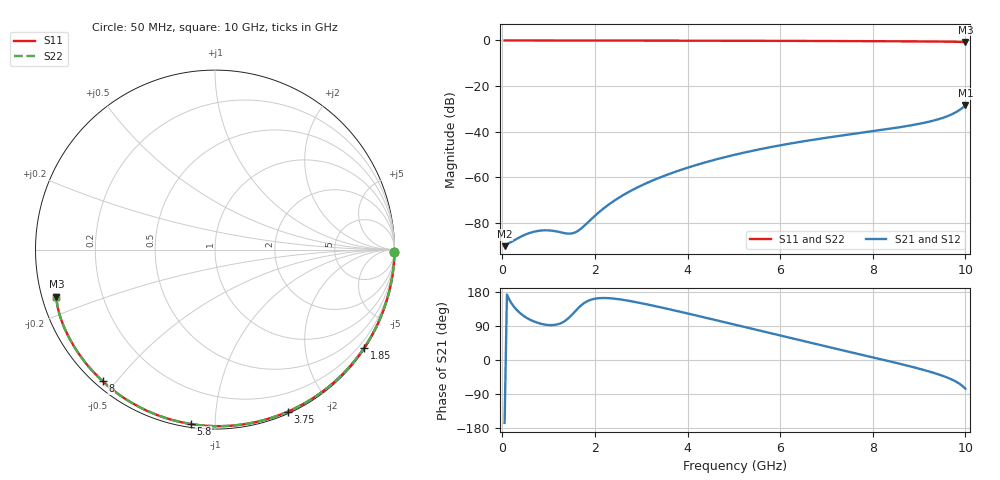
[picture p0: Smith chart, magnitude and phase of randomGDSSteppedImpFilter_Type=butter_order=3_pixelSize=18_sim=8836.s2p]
! freq	dB(S11)	phase(S11)	dB(S12)	phase(S12)
!  dB(S21)	phase(S21)	dB(S22)	phase(S22)
!S-par simulation data
#  GHz  S  DB  R 50
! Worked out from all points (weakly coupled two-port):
!   200 points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, 50 MHz to 10 GHz, reference 50 ohm
!   highest |S21| = -28.45 dB at 10 GHz (marker M1); lowest = -90.2 dB at 50 MHz (marker M2)
!   lowest |S11| = -0.7 dB at 10 GHz (marker M3), VSWR 24.59, Z = 2.08 - j7.26 ohm
!   |S11| at or under -10 dB: nowhere
!   |S22| runs from -0.7 to 0.0 dB; largest |S21 - S12| = 0
!   S11 on the Smith chart (normalised r, x): 50 MHz: open; 1.85 GHz: 0.03, -3.34; 3.75 GHz: 0.02, -1.55; 5.8 GHz: 0.02, -0.87; 8 GHz: 0.02, -0.46; 10 GHz: 0.04, -0.15
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0.05  -0.00 -0.9  -90.17 -166.0  -90.17 -166.0  -0.00 -0.9
0.85  -0.02 -15.5  -83.28 95.2  -83.28 95.2  -0.02 -15.5
1.3  -0.03 -23.6  -84.26 99.1  -84.26 99.1  -0.03 -23.6
1.75  -0.04 -31.6  -81.61 148.7  -81.61 148.7  -0.04 -31.6
1.85  -0.04 -33.4  -79.71 155.9  -79.71 155.9  -0.04 -33.4
2.15  -0.05 -38.6  -74.24 163.6  -74.24 163.6  -0.05 -38.6
2.5  -0.06 -44.7  -69.15 160.7  -69.15 160.7  -0.06 -44.7
2.9  -0.07 -51.6  -64.60 152.4  -64.60 152.4  -0.07 -51.6
3.4  -0.08 -60.0  -60.10 139.5  -60.10 139.5  -0.08 -60.0
3.75  -0.09 -65.8  -57.46 129.9  -57.46 129.9  -0.09 -65.8
4.35  -0.11 -75.5  -53.63 112.8  -53.63 112.8  -0.11 -75.5
5.05  -0.13 -86.5  -49.95 92.4  -49.95 92.4  -0.13 -86.5
5.8  -0.17 -98.0  -46.72 70.3  -46.72 70.3  -0.17 -98.0
6.7  -0.22 -111.4  -43.57 44.1  -43.57 44.1  -0.22 -111.4
7.35  -0.26 -120.9  -41.61 25.5  -41.61 25.5  -0.26 -120.9
8  -0.32 -130.4  -39.77 7.0  -39.77 7.0  -0.32 -130.4
8.35  -0.35 -135.6  -38.75 -3.0  -38.75 -3.0  -0.35 -135.6
9  -0.42 -145.4  -36.55 -22.9  -36.55 -22.9  -0.42 -145.4
9.45  -0.49 -152.7  -34.34 -39.2  -34.34 -39.2  -0.49 -152.7
9.75  -0.56 -158.1  -31.94 -54.1  -31.94 -54.1  -0.56 -158.1
9.9  -0.63 -161.2  -30.10 -65.1  -30.10 -65.1  -0.63 -161.1
10  -0.71 -163.4  -28.45 -75.8  -28.45 -75.8  -0.70 -163.4
